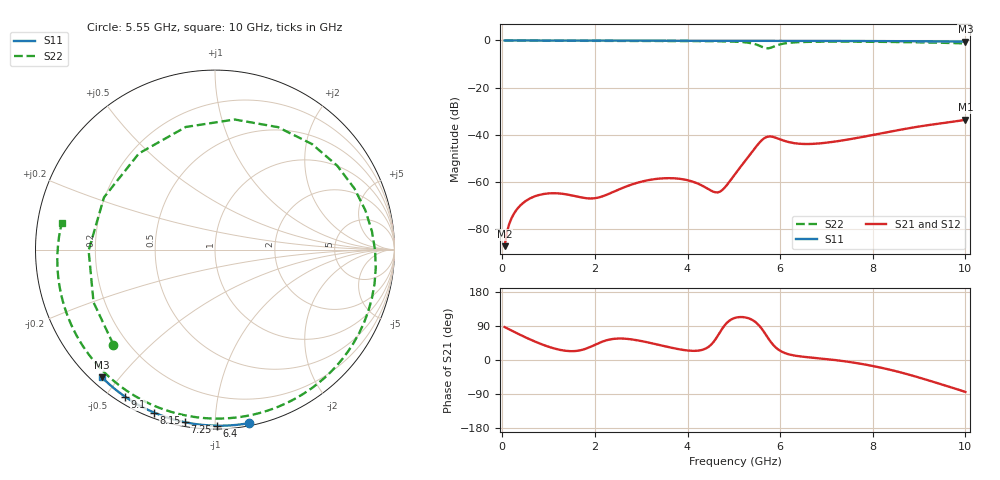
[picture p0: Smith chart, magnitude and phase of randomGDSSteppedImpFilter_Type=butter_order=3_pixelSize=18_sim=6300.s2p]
! freq	dB(S11)	phase(S11)	dB(S12)	phase(S12)
!  dB(S21)	phase(S21)	dB(S22)	phase(S22)
!S-par simulation data
#  GHz  S  DB  R 50
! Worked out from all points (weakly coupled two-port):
!   200 points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, 50 MHz to 10 GHz, reference 50 ohm
!   highest |S21| = -33.67 dB at 10 GHz (marker M1); lowest = -87.3 dB at 50 MHz (marker M2)
!   lowest |S11| = -0.4 dB at 10 GHz (marker M3), VSWR 39.06, Z = 1.54 - j22.5 ohm
!   |S11| at or under -10 dB: nowhere
!   |S22| runs from -3.3 to 0.0 dB; largest |S21 - S12| = 0
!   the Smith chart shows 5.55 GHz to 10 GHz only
!   S11 on the Smith chart (normalised r, x): 5.55 GHz: 0.02, -1.22; 6.4 GHz: 0.02, -1.01; 7.25 GHz: 0.02, -0.84; 8.15 GHz: 0.02, -0.69; 9.1 GHz: 0.03, -0.56; 10 GHz: 0.03, -0.45
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0.05  -0.00 -0.8  -87.31 86.9  -87.31 86.9  -0.00 -5.5
0.5  -0.01 -7.6  -68.22 59.8  -68.22 59.8  -0.08 -54.1
0.85  -0.02 -12.8  -65.32 41.5  -65.32 41.5  -0.11 -89.5
1.35  -0.03 -20.3  -65.21 24.6  -65.21 24.6  -0.15 -135.6
1.75  -0.03 -26.2  -66.77 27.7  -66.77 27.7  -0.17 -169.1
2.65  -0.05 -39.3  -62.17 56.2  -62.17 56.2  -0.20 123.2
3.4  -0.07 -49.9  -58.61 39.3  -58.61 39.3  -0.22 71.8
4.3  -0.09 -62.3  -61.45 26.2  -61.45 26.2  -0.28 12.7
4.7  -0.10 -67.7  -64.18 73.2  -64.18 73.2  -0.35 -15.2
5.05  -0.11 -72.3  -56.11 112.0  -56.11 112.0  -0.53 -44.9
5.35  -0.12 -76.2  -48.39 108.6  -48.39 108.6  -1.07 -84.9
5.55  -0.13 -78.8  -43.44 90.4  -43.44 90.4  -2.21 -136.8
5.7  -0.13 -80.7  -41.03 65.1  -41.03 65.1  -3.30 154.8
5.85  -0.14 -82.6  -40.96 39.9  -40.96 39.9  -2.70 81.4
6.05  -0.15 -85.1  -42.35 21.1  -42.35 21.1  -1.43 23.7
6.4  -0.16 -89.5  -43.81 10.0  -43.81 10.0  -0.72 -21.8
6.7  -0.18 -93.2  -43.89 6.1  -43.89 6.1  -0.56 -43.8
7.25  -0.21 -99.8  -42.73 -1.1  -42.73 -1.1  -0.50 -72.3
8.15  -0.27 -110.5  -39.56 -19.6  -39.56 -19.6  -0.59 -108.8
8.35  -0.29 -112.8  -38.80 -25.1  -38.80 -25.1  -0.62 -116.5
9.1  -0.35 -121.4  -36.22 -49.9  -36.22 -49.9  -0.83 -146.2
10  -0.44 -131.6  -33.67 -84.3  -33.67 -84.3  -1.24 170.0
